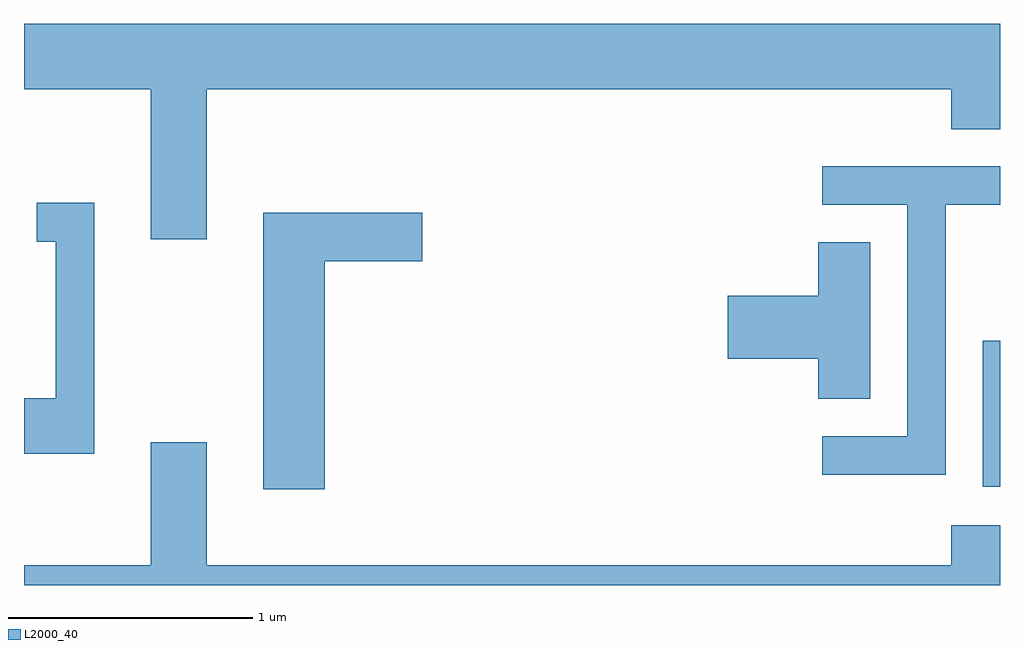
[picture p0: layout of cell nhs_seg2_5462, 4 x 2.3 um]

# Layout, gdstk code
import gdstk
lib = gdstk.Library(unit=1e-6, precision=1e-09)
def R(c, l, rs):  # rectangles x0, y0, x1, y1
    for r in rs: c.add(gdstk.rectangle(r[:2], r[2:], *l))
def P(c, l, *ps):  # polygons
    for p in ps: c.add(gdstk.Polygon(p, *l))
L2000_40 = (2000, 40)

nhs_seg2_5462 = lib.new_cell('nhs_seg2_5462')
R(nhs_seg2_5462, L2000_40, [(349.541,1082.206,349.611,1082.804)])
P(nhs_seg2_5462, L2000_40, [(346.359,1083.836),(349.411,1083.836),(349.411,1083.671),(349.611,1083.671),(349.611,1084.104),(345.611,1084.104),(345.611,1083.836),(346.131,1083.836),(346.131,1083.221),(346.359,1083.221)],
  [(349.389,1083.361),(349.611,1083.361),(349.611,1083.519),(348.883,1083.519),(348.883,1083.361),(349.231,1083.361),(349.231,1082.414),(348.883,1082.414),(348.883,1082.256),(349.389,1082.256)],
  [(345.899,1083.369),(345.663,1083.369),(345.663,1083.211),(345.741,1083.211),(345.741,1082.569),(345.611,1082.569),(345.611,1082.341),(345.899,1082.341)],
  [(346.844,1083.131),(347.244,1083.131),(347.244,1083.329),(346.591,1083.329),(346.591,1082.196),(346.844,1082.196)],
  [(349.079,1083.209),(348.866,1083.209),(348.866,1082.989),(348.496,1082.989),(348.496,1082.731),(348.866,1082.731),(348.866,1082.566),(349.079,1082.566)],
  [(349.611,1082.049),(349.411,1082.049),(349.411,1081.884),(346.359,1081.884),(346.359,1082.389),(346.131,1082.389),(346.131,1081.884),(345.611,1081.884),(345.611,1081.802),(349.611,1081.802)])

lib.write_gds('nhs_seg2_5462.gds')
